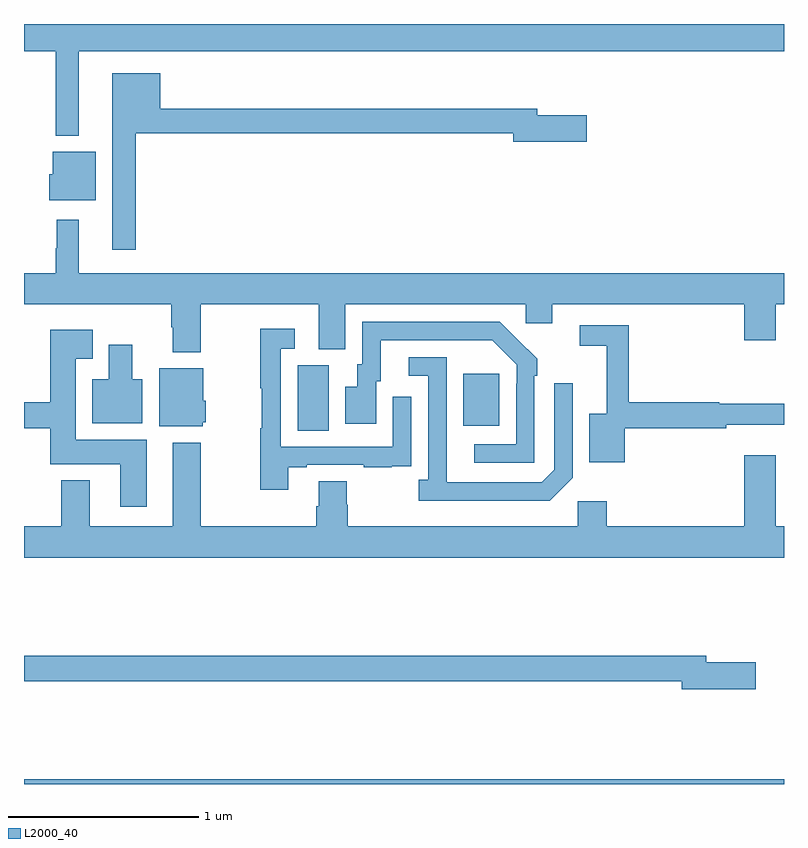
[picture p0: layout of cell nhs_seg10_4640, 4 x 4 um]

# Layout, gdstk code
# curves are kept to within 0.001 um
import gdstk
lib = gdstk.Library(unit=1e-6, precision=1e-09)
def R(c, l, rs):  # rectangles x0, y0, x1, y1
    for r in rs: c.add(gdstk.rectangle(r[:2], r[2:], *l))
def P(c, l, *ps):  # polygons
    for p in ps: c.add(gdstk.Polygon(p, *l))
L2000_40 = (2000, 40)

nhs_seg10_4640 = lib.new_cell('nhs_seg10_4640')
R(nhs_seg10_4640, L2000_40, [(377,1256.5,381,1256.524), (378.44,1258.36,378.604,1258.704), (379.313,1258.385,379.501,1258.66)])
P(nhs_seg10_4640, L2000_40, [(377.287,1260.356),(381,1260.356),(381,1260.5),(377,1260.5),(377,1260.356),(377.166,1260.356),(377.166,1259.912),(377.287,1259.912)],
  [(377.587,1259.926),(379.574,1259.926),(379.574,1259.879),(379.963,1259.879),(379.963,1260.021),(379.702,1260.021),(379.702,1260.055),(377.716,1260.055),(377.716,1260.241),(377.465,1260.241),(377.465,1259.313),(377.587,1259.313)],
  [(377.377,1259.827),(377.15,1259.827),(377.15,1259.709),(377.132,1259.709),(377.132,1259.573),(377.377,1259.573)],
  [(377.931,1259.024),(378.551,1259.024),(378.551,1258.789),(378.691,1258.789),(378.691,1259.024),(379.641,1259.024),(379.641,1258.926),(379.78,1258.926),(379.78,1259.024),(380.792,1259.024),(380.792,1258.836),(380.956,1258.836),(380.956,1259.024),(381,1259.024),(381,1259.188),(377.287,1259.188),(377.287,1259.47),(377.173,1259.47),(377.173,1259.321),(377.166,1259.321),(377.166,1259.188),(377,1259.188),(377,1259.024),(377.776,1259.024),(377.776,1258.904),(377.783,1258.904),(377.783,1258.772),(377.931,1258.772)],
  [(379.686,1258.649),(379.701,1258.649),(379.701,1258.737),(379.504,1258.932),(378.78,1258.932),(378.78,1258.71),(378.755,1258.71),(378.755,1258.591),(378.692,1258.591),(378.692,1258.395),(378.853,1258.395),(378.853,1258.62),(378.877,1258.62),(378.877,1258.836),(379.465,1258.836),(379.593,1258.707),(379.593,1258.607),(379.59,1258.607),(379.59,1258.287),(379.371,1258.287),(379.371,1258.191),(379.686,1258.191)],
  [(380.163,1258.372),(380.696,1258.372),(380.696,1258.391),(381,1258.391),(381,1258.501),(380.66,1258.501),(380.66,1258.508),(380.183,1258.508),(380.183,1258.914),(379.926,1258.914),(379.926,1258.806),(380.066,1258.806),(380.066,1258.45),(379.976,1258.45),(379.976,1258.193),(380.163,1258.193)],
  [(378.391,1258.167),(378.487,1258.167),(378.487,1258.179),(378.787,1258.179),(378.787,1258.167),(378.935,1258.167),(378.935,1258.173),(379.037,1258.173),(379.037,1258.282),(379.038,1258.282),(379.038,1258.537),(378.942,1258.537),(378.942,1258.275),(378.351,1258.275),(378.351,1258.791),(378.424,1258.791),(378.424,1258.897),(378.243,1258.897),(378.243,1258.584),(378.25,1258.584),(378.25,1258.372),(378.243,1258.372),(378.243,1258.05),(378.391,1258.05)],
  [(377.647,1258.312),(377.272,1258.312),(377.272,1258.739),(377.362,1258.739),(377.362,1258.891),(377.138,1258.891),(377.138,1258.508),(377,1258.508),(377,1258.372),(377.138,1258.372),(377.138,1258.184),(377.507,1258.184),(377.507,1257.96),(377.647,1257.96)],
  [(377.623,1258.63),(377.569,1258.63),(377.569,1258.813),(377.447,1258.813),(377.447,1258.63),(377.36,1258.63),(377.36,1258.4),(377.623,1258.4)],
  [(379.887,1258.113),(379.887,1258.609),(379.791,1258.609),(379.791,1258.155),(379.725,1258.089),(379.225,1258.089),(379.224,1258.746),(379.026,1258.746),(379.026,1258.65),(379.128,1258.65),(379.128,1258.102),(379.077,1258.102),(379.077,1257.992),(379.766,1257.992)],
  [(377.94,1258.404),(377.956,1258.404),(377.956,1258.518),(377.944,1258.518),(377.944,1258.687),(377.711,1258.687),(377.711,1258.382),(377.94,1258.382)],
  [(381,1257.856),(380.956,1257.856),(380.956,1258.231),(380.792,1258.231),(380.792,1257.856),(380.066,1257.856),(380.066,1257.988),(379.914,1257.988),(379.914,1257.856),(378.704,1257.856),(378.704,1257.969),(378.699,1257.969),(378.699,1258.094),(378.551,1258.094),(378.551,1257.962),(378.539,1257.962),(378.539,1257.856),(377.931,1257.856),(377.931,1258.297),(377.783,1258.297),(377.783,1257.856),(377.347,1257.856),(377.347,1258.099),(377.195,1258.099),(377.195,1257.856),(377,1257.856),(377,1257.692),(381,1257.692)],
  [(380.851,1257.14),(380.59,1257.14),(380.59,1257.176),(377,1257.176),(377,1257.04),(380.462,1257.04),(380.462,1256.998),(380.851,1256.998)])

lib.write_gds('nhs_seg10_4640.gds')
